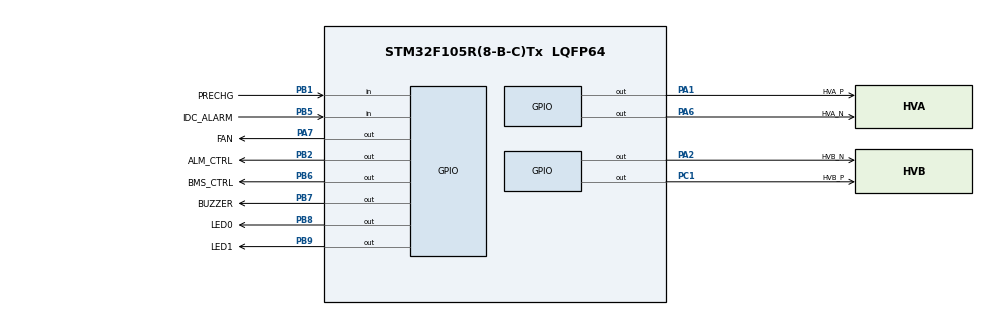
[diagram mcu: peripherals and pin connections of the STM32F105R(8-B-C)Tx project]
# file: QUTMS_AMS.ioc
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Mcu.Family=STM32F1
Mcu.Name=STM32F105R(8-B-C)Tx
Mcu.Package=LQFP64
NVIC.PriorityGroup=NVIC_PRIORITYGROUP_4
PA1.GPIO_Label=HVA_P
PA1.Signal=GPIO_Output
PA2.GPIO_Label=HVB_N
PA2.Signal=GPIO_Output
PA6.GPIO_Label=HVA_N
PA6.Signal=GPIO_Output
PA7.GPIO_Label=FAN
PA7.Signal=GPIO_Output
PB1.GPIO_Label=PRECHG
PB1.Signal=GPIO_Input
PB2.GPIO_Label=ALM_CTRL
PB2.Signal=GPIO_Output
PB5.GPIO_Label=IDC_ALARM
PB5.Signal=GPIO_Input
PB6.GPIO_Label=BMS_CTRL
PB6.Signal=GPIO_Output
PB7.GPIO_Label=BUZZER
PB7.Signal=GPIO_Output
PB8.GPIO_Label=LED0
PB8.Signal=GPIO_Output
PB9.GPIO_Label=LED1
PB9.Signal=GPIO_Output
PC1.GPIO_Label=HVB_P
PC1.Signal=GPIO_Output
ProjectManager.HeapSize=0x200
ProjectManager.StackSize=0x400
ProjectManager.TargetToolchain=STM32CubeIDE
RCC.USBFreq_Value=10666666.666666666
VP_SYS_VS_ND.Mode=No_Debug
board=custom

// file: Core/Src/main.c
/* USER CODE BEGIN Header */
/**
 ******************************************************************************
 * @file           : main.c
 * @brief          : Main program body
 ******************************************************************************
 * @attention
 *
 * <h2><center>&copy; Copyright (c) 2020 STMicroelectronics.
 * All rights reserved.</center></h2>
 *
 * This software component is licensed by ST under BSD 3-Clause license,
 * the "License"; You may not use this file except in compliance with the
 * License. You may obtain a copy of the License at:
 *                        opensource.org/licenses/BSD-3-Clause
 *
 ******************************************************************************
 */
/* USER CODE END Header */
#include "main.h"
#include "can.h"
#include "usart.h"
#include "gpio.h"

/* USER CODE BEGIN Includes */
#include <stdio.h>
#include <string.h>
#include "AMS_CAN_Messages.h"
#include "BMS_CAN_Messages.h"
/* USER CODE END Includes */

void SystemClock_Config(void);

/* USER CODE BEGIN 0 */
char msg[80];
CAN_TxHeaderTypeDef TxHeader1;
CAN_TxHeaderTypeDef TxHeader2;
uint8_t TxData[8];
uint32_t TxMailbox;
/* USER CODE END 0 */

int main(void)
{
  /* USER CODE BEGIN 1 */
	/* Set Msg size */
	TxHeader1.ExtId = 0x01;
	TxHeader1.IDE = CAN_ID_EXT;
	TxHeader1.RTR = CAN_RTR_DATA;
	TxHeader1.DLC = 2;
	TxHeader1.TransmitGlobalTime = DISABLE;

	TxHeader2.ExtId = 0x02;
	TxHeader2.IDE = CAN_ID_EXT;
	TxHeader2.RTR = CAN_RTR_DATA;
	TxHeader2.DLC = 2;
	TxHeader2.TransmitGlobalTime = DISABLE;
  /* USER CODE END 1 */

	/* Configure the system clock */
	SystemClock_Config();

	/* Initialize all configured peripherals */
	MX_GPIO_Init();
	/* USER CODE BEGIN 2 */

	// Initial Positions of all PROFET Pins
	// HIGH - HVA-, HVB-, PRECHG
	HAL_GPIO_WritePin(HVA_N_GPIO_Port, HVA_N_Pin, GPIO_PIN_SET);
	HAL_GPIO_WritePin(HVB_N_GPIO_Port, HVB_N_Pin, GPIO_PIN_SET);
	HAL_GPIO_WritePin(PRECHG_GPIO_Port, PRECHG_Pin, GPIO_PIN_SET);

	// LOW - HVA+, HVB+
	HAL_GPIO_WritePin(HVA_P_GPIO_Port, HVA_P_Pin, GPIO_PIN_RESET);
	HAL_GPIO_WritePin(HVB_P_GPIO_Port, HVB_P_Pin, GPIO_PIN_RESET);

	// FAN
	HAL_GPIO_WritePin(FAN_GPIO_Port, FAN_Pin, GPIO_PIN_SET);

	// BMS Control - HIGH (turn on all BMS)
	HAL_GPIO_WritePin(BMS_CTRL_GPIO_Port, BMS_CTRL_Pin, GPIO_PIN_SET);

	// ALARM Line - HIGH
	HAL_GPIO_WritePin(ALM_CTRL_GPIO_Port, ALM_CTRL_Pin, GPIO_PIN_SET);

	// DELAY 300ms (and then pray the boards don't fry)
	HAL_Delay(500); // who knows if this will work - need to check this
	                // (I put 500 cause I don't know how accurate this is)

	// PROFET Positions AFTER Delay
	// HIGH - HVA+, HVA-, HVB+, HVB-
	HAL_GPIO_WritePin(HVA_N_GPIO_Port, HVA_N_Pin, GPIO_PIN_SET);
	HAL_GPIO_WritePin(HVB_N_GPIO_Port, HVB_N_Pin, GPIO_PIN_SET);
	HAL_GPIO_WritePin(HVA_P_GPIO_Port, HVA_P_Pin, GPIO_PIN_SET);
	HAL_GPIO_WritePin(HVB_P_GPIO_Port, HVB_P_Pin, GPIO_PIN_SET);

	// LOW - PRECHG
	HAL_GPIO_WritePin(PRECHG_GPIO_Port, PRECHG_Pin, GPIO_PIN_SET);

	/* USER CODE END 2 */

	/* Infinite loop */
	while (1) {

		// AMS Packet Example
		AMS_CellVoltageShutdown_t x = Compose_AMS_CellVoltageShutdown(0, 0, 2);

		TxHeader1.ExtId = x.id;
		TxHeader1.DLC = sizeof(x.data);

		if(HAL_CAN_AddTxMessage(&hcan1, &TxHeader1, x.data, &TxMailbox) != HAL_OK)
		{
			Error_Handler();
		}

		// BMS Packet Example
		BMS_BadCellVoltage_t pack = Compose_BMS_BadCellVoltage(0, 0, 2);
		TxHeader1.ExtId = pack.id;
		TxHeader1.DLC = sizeof(pack.data);

		if(HAL_CAN_AddTxMessage(&hcan1, &TxHeader1, pack.data, &TxMailbox) != HAL_OK)
		{
			Error_Handler();
		}
	}
	/* USER CODE END 3 */
}

void SystemClock_Config(void) {
	RCC_OscInitTypeDef RCC_OscInitStruct = { 0 };
	RCC_ClkInitTypeDef RCC_ClkInitStruct = { 0 };

	/** Initializes the RCC Oscillators according to the specified parameters
	 * in the RCC_OscInitTypeDef structure.
	 */
	RCC_OscInitStruct.OscillatorType = RCC_OSCILLATORTYPE_HSI;
	RCC_OscInitStruct.HSIState = RCC_HSI_ON;
	RCC_OscInitStruct.HSICalibrationValue = RCC_HSICALIBRATION_DEFAULT;
	RCC_OscInitStruct.PLL.PLLState = RCC_PLL_NONE;
	RCC_OscInitStruct.PLL2.PLL2State = RCC_PLL_NONE;
	if (HAL_RCC_OscConfig(&RCC_OscInitStruct) != HAL_OK) {
		Error_Handler();
	}
	/** Initializes the CPU, AHB and APB buses clocks
	 */
	RCC_ClkInitStruct.ClockType = RCC_CLOCKTYPE_HCLK | RCC_CLOCKTYPE_SYSCLK
			| RCC_CLOCKTYPE_PCLK1 | RCC_CLOCKTYPE_PCLK2;
	RCC_ClkInitStruct.SYSCLKSource = RCC_SYSCLKSOURCE_HSI;
	RCC_ClkInitStruct.AHBCLKDivider = RCC_SYSCLK_DIV1;
	RCC_ClkInitStruct.APB1CLKDivider = RCC_HCLK_DIV1;
	RCC_ClkInitStruct.APB2CLKDivider = RCC_HCLK_DIV1;

	if (HAL_RCC_ClockConfig(&RCC_ClkInitStruct, FLASH_LATENCY_0) != HAL_OK) {
		Error_Handler();
	}
	/** Configure the Systick interrupt time
	 */
	__HAL_RCC_PLLI2S_ENABLE();
}

/* USER CODE BEGIN 4 */
void BMS_ALARM_ISR(void)
{
	return;
}
/* USER CODE END 4 */

void Error_Handler(void)
{
}

/************************ (C) COPYRIGHT STMicroelectronics *****END OF FILE****/
